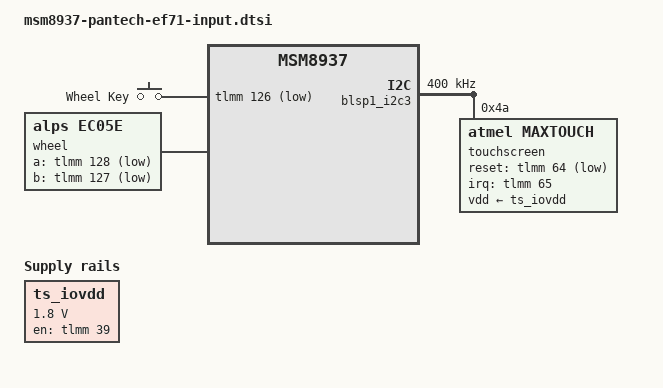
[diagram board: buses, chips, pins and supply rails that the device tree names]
// SPDX-License-Identifier: GPL-2.0-only
/*
 * EF71 input: the touchscreen on BLSP1 I2C3, the volume wheel and the key
 * under it.
 *
 * Copyright (c) 2026, hiru <rlawoehd187@naver.com>
 */

#include <dt-bindings/gpio/gpio.h>
#include <dt-bindings/input/atmel-maxtouch.h>
#include <dt-bindings/input/linux-event-codes.h>
#include <dt-bindings/interrupt-controller/irq.h>

/ {
	gpio-keys {
		compatible = "gpio-keys";

		pinctrl-0 = <&gpio_keys_default>;
		pinctrl-names = "default";

		/* The key under the volume wheel */
		key-wheel {
			label = "Wheel Key";
			linux,code = <KEY_MENU>;
			gpios = <&tlmm 126 GPIO_ACTIVE_LOW>;
			debounce-interval = <15>;
		};
	};

	/* The volume wheel: an ALPS EC05E with its terminals on GPIOs 128 and 127 */
	wheel {
		compatible = "alps,ec05e";
		a-gpios = <&tlmm 128 GPIO_ACTIVE_LOW>;
		b-gpios = <&tlmm 127 GPIO_ACTIVE_LOW>;
		linux,keycodes = <KEY_VOLUMEDOWN KEY_VOLUMEUP>;

		pinctrl-0 = <&wheel_default>;
		pinctrl-names = "default";
	};

	/* Touch controller I/O supply, switched by GPIO 39 */
	ts_iovdd: ts-iovdd-regulator {
		compatible = "regulator-fixed";
		regulator-name = "ts_iovdd";
		regulator-min-microvolt = <1800000>;
		regulator-max-microvolt = <1800000>;
		gpio = <&tlmm 39 GPIO_ACTIVE_HIGH>;
		enable-active-high;
		startup-delay-us = <10000>;

		pinctrl-0 = <&ts_iovdd_default>;
		pinctrl-names = "default";
	};
};

&blsp1_i2c3 {
	status = "okay";
	/* 400 kHz as the stock kernel (100 kHz without it): the touchscreen
	 * reports are read four times as fast
	 */
	clock-frequency = <400000>;

	/* EF71S: Atmel mXT641T; the EF71AS has an FT8716 on the same pins */
	touchscreen@4a {
		compatible = "atmel,maxtouch";
		reg = <0x4a>;

		interrupts-extended = <&tlmm 65 IRQ_TYPE_LEVEL_LOW>;
		reset-gpios = <&tlmm 64 GPIO_ACTIVE_LOW>;
		vdd-supply = <&ts_iovdd>;
		atmel,wakeup-method = <ATMEL_MXT_WAKEUP_I2C_SCL>;

		/* screen on/off, and double tap to wake keeping it awake */
		panel = <&panel>;

		pinctrl-0 = <&ts_int_rst_default>;
		pinctrl-names = "default";
	};
};

&tlmm {
	gpio_keys_default: gpio-keys-default-state {
		pins = "gpio126";
		function = "gpio";
		drive-strength = <2>;
		bias-pull-up;
	};

	wheel_default: wheel-default-state {
		pins = "gpio127", "gpio128";
		function = "gpio";
		drive-strength = <2>;
		bias-pull-up;
	};

	ts_int_rst_default: ts-int-rst-default-state {
		pins = "gpio64", "gpio65";
		function = "gpio";
		drive-strength = <8>;
		bias-pull-up;
	};

	ts_iovdd_default: ts-iovdd-default-state {
		pins = "gpio39";
		function = "gpio";
		drive-strength = <2>;
		bias-disable;
	};
};
